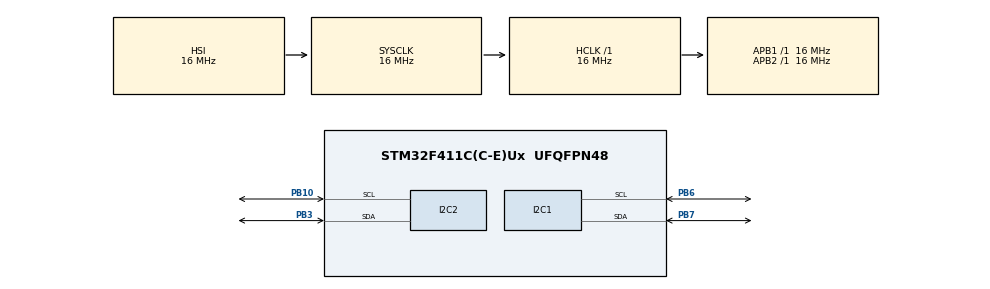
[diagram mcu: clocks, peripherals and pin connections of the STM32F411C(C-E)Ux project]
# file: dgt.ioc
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I2C2.GeneralCallMode=I2C_GENERALCALL_ENABLE
I2C2.OwnAddress=32
Mcu.Family=STM32F4
Mcu.Name=STM32F411C(C-E)Ux
Mcu.Package=UFQFPN48
NVIC.I2C1_EV_IRQn=true\:0\:0\:false\:false\:true\:true\:true\:true
NVIC.I2C2_EV_IRQn=true\:0\:0\:false\:false\:true\:true\:true\:true
NVIC.PriorityGroup=NVIC_PRIORITYGROUP_4
PB10.Mode=I2C
PB10.Signal=I2C2_SCL
PB3.Mode=I2C
PB3.Signal=I2C2_SDA
PB6.Mode=I2C
PB6.Signal=I2C1_SCL
PB7.Mode=I2C
PB7.Signal=I2C1_SDA
ProjectManager.HeapSize=0x200
ProjectManager.StackSize=0x400
ProjectManager.TargetToolchain=Makefile
RCC.AHBFreq_Value=16000000
RCC.APB1Freq_Value=16000000
RCC.APB2Freq_Value=16000000
RCC.CortexFreq_Value=16000000
RCC.HSE_VALUE=25000000
RCC.HSI_VALUE=16000000
RCC.LSE_VALUE=32768
RCC.SYSCLKFreq_VALUE=16000000
RCC.VCOOutputFreq_Value=192000000
board=custom

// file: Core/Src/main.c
/* USER CODE BEGIN Header */
/**
 ******************************************************************************
 * @file           : main.c
 * @brief          : Main program body
 ******************************************************************************
 * @attention
 *
 * Copyright (c) 2026 STMicroelectronics.
 * All rights reserved.
 *
 * This software is licensed under terms that can be found in the LICENSE file
 * in the root directory of this software component.
 * If no LICENSE file comes with this software, it is provided AS-IS.
 *
 ******************************************************************************
 */
/* USER CODE END Header */
#include "main.h"

/* USER CODE BEGIN PD */
/* HAL takes 8-bit (shifted) addresses, both for targets and for OwnAddress1. */
#define DGT_CLOCK_ADDR (0x08 << 1)
#define DGT_OWN_ADDR (0x10 << 1) /* Must match hi2c2.Init.OwnAddress1 */

#define DGT_MSG_ACK 0x01
#define DGT_CMD_DISPLAY 0x06
#define DGT_CMD_END_DISPLAY 0x07
#define DGT_CMD_CHANGE_STATE 0x0B
#define DGT_CMD_SET_CC 0x0F
#define DGT_ACK_POSITIVE 0x08

#define DGT_TX_TIMEOUT_MS 10
#define DGT_ACK_TIMEOUT_MS 50
#define DGT_CONFIGURE_ATTEMPTS 6
#define DGT_DISPLAY_ATTEMPTS 3
/* As DGT3000-BLE-Gateway: the clock sends its queued messages right after the
   previous one, so give it time before sending, and more after a failure. */
#define DGT_COMMAND_DELAY_MS 25
#define DGT_RETRY_DELAY_MS 100
#define DGT_DISPLAY_CHARS 11

/* Same meaning as the dgtpi return codes */
#define DGT_OK 0
#define DGT_ERR_NEGATIVE_ACK -1 /* Clock answered, but refused the command */
#define DGT_ERR_I2C -2          /* Bus stuck or timed out */
#define DGT_ERR_RETRY -3        /* Collision, or no ack received */
#define DGT_ERR_CLOCK_OFF -7    /* Address not acked, clock probably off */
/* USER CODE END PD */

I2C_HandleTypeDef hi2c1;
I2C_HandleTypeDef hi2c2;

/* USER CODE BEGIN PV */
/* A frame's length is a single byte, so this can never overflow. */
static uint8_t dgt_rx_frame[256];
static volatile uint8_t dgt_ack_cmd;
static volatile uint8_t dgt_ack_status;

/* Debug log, read it in gdb: p dgt_dbg_steps / p/x dgt_dbg_rx */
#define DGT_DBG_STEPS 16
#define DGT_DBG_RX 16
typedef struct
{
  uint8_t step; /* the command byte that was sent */
  int8_t result;
  uint8_t status;
} dgt_dbg_step_t;
typedef struct
{
  uint8_t len;
  uint8_t crc_seed; /* 0x20 = own address, 0x00 = broadcast, 0xFF = bad crc */
  uint8_t data[22];
} dgt_dbg_rx_t;
volatile dgt_dbg_step_t dgt_dbg_steps[DGT_DBG_STEPS];
volatile uint8_t dgt_dbg_step_count;
volatile dgt_dbg_rx_t dgt_dbg_rx[DGT_DBG_RX];
volatile uint8_t dgt_dbg_rx_count;

const uint8_t crc_table[256] = {
    0x00, 0x07, 0x0E, 0x09, 0x1C, 0x1B, 0x12, 0x15,
    0x38, 0x3F, 0x36, 0x31, 0x24, 0x23, 0x2A, 0x2D,
    0x70, 0x77, 0x7E, 0x79, 0x6C, 0x6B, 0x62, 0x65,
    0x48, 0x4F, 0x46, 0x41, 0x54, 0x53, 0x5A, 0x5D,
    0xE0, 0xE7, 0xEE, 0xE9, 0xFC, 0xFB, 0xF2, 0xF5,
    0xD8, 0xDF, 0xD6, 0xD1, 0xC4, 0xC3, 0xCA, 0xCD,
    0x90, 0x97, 0x9E, 0x99, 0x8C, 0x8B, 0x82, 0x85,
    0xA8, 0xAF, 0xA6, 0xA1, 0xB4, 0xB3, 0xBA, 0xBD,
    0xC7, 0xC0, 0xC9, 0xCE, 0xDB, 0xDC, 0xD5, 0xD2,
    0xFF, 0xF8, 0xF1, 0xF6, 0xE3, 0xE4, 0xED, 0xEA,
    0xB7, 0xB0, 0xB9, 0xBE, 0xAB, 0xAC, 0xA5, 0xA2,
    0x8F, 0x88, 0x81, 0x86, 0x93, 0x94, 0x9D, 0x9A,
    0x27, 0x20, 0x29, 0x2E, 0x3B, 0x3C, 0x35, 0x32,
    0x1F, 0x18, 0x11, 0x16, 0x03, 0x04, 0x0D, 0x0A,
    0x57, 0x50, 0x59, 0x5E, 0x4B, 0x4C, 0x45, 0x42,
    0x6F, 0x68, 0x61, 0x66, 0x73, 0x74, 0x7D, 0x7A,
    0x89, 0x8E, 0x87, 0x80, 0x95, 0x92, 0x9B, 0x9C,
    0xB1, 0xB6, 0xBF, 0xB8, 0xAD, 0xAA, 0xA3, 0xA4,
    0xF9, 0xFE, 0xF7, 0xF0, 0xE5, 0xE2, 0xEB, 0xEC,
    0xC1, 0xC6, 0xCF, 0xC8, 0xDD, 0xDA, 0xD3, 0xD4,
    0x69, 0x6E, 0x67, 0x60, 0x75, 0x72, 0x7B, 0x7C,
    0x51, 0x56, 0x5F, 0x58, 0x4D, 0x4A, 0x43, 0x44,
    0x19, 0x1E, 0x17, 0x10, 0x05, 0x02, 0x0B, 0x0C,
    0x21, 0x26, 0x2F, 0x28, 0x3D, 0x3A, 0x33, 0x34,
    0x4E, 0x49, 0x40, 0x47, 0x52, 0x55, 0x5C, 0x5B,
    0x76, 0x71, 0x78, 0x7F, 0x6A, 0x6D, 0x64, 0x63,
    0x3E, 0x39, 0x30, 0x37, 0x22, 0x25, 0x2C, 0x2B,
    0x06, 0x01, 0x08, 0x0F, 0x1A, 0x1D, 0x14, 0x13,
    0xAE, 0xA9, 0xA0, 0xA7, 0xB2, 0xB5, 0xBC, 0xBB,
    0x96, 0x91, 0x98, 0x9F, 0x8A, 0x8D, 0x84, 0x83,
    0xDE, 0xD9, 0xD0, 0xD7, 0xC2, 0xC5, 0xCC, 0xCB,
    0xE6, 0xE1, 0xE8, 0xEF, 0xFA, 0xFD, 0xF4, 0xF3};
/* USER CODE END PV */

void SystemClock_Config(void);
static void MX_GPIO_Init(void);
static void MX_I2C1_Init(void);
static void MX_I2C2_Init(void);
/* USER CODE BEGIN PFP */
/* The CRC also covers the destination address byte, which is not part of the
   frame buffers: the HAL puts it on the wire. */
static uint8_t DGT_Crc(uint8_t addr_byte, const uint8_t *frame, uint16_t length)
{
  uint8_t crc = crc_table[addr_byte];

  for (uint16_t i = 0; i < length; i++)
    crc = crc_table[crc ^ frame[i]];

  return crc;
}

void Wake_DGT3000(void)
{

  uint8_t ping_frame[] = {32, 5, 13, 70};
  uint8_t timeout = 100;
  uint8_t clock_addr = (uint8_t)40 << 1;
  volatile HAL_StatusTypeDef tx_status = HAL_OK;

  for (int i = 0; i < 9; i++)
  {
    tx_status = HAL_I2C_Master_Transmit(&hi2c1, clock_addr, ping_frame, sizeof(ping_frame), timeout);
    HAL_Delay(1000);
  }
}

/* Send a frame to the clock and wait for the ack of its command, which the
   clock sends to our slave address. */
static int DGT_SendCommand(uint8_t *frame, uint16_t length, uint8_t *ack_status)
{
  uint8_t cmd = frame[2];

  HAL_Delay(DGT_COMMAND_DELAY_MS);

  /* Cleared before sending: the ack can arrive right after the stop condition */
  dgt_ack_cmd = 0;

  if (HAL_I2C_Master_Transmit(&hi2c1, DGT_CLOCK_ADDR, frame, length, DGT_TX_TIMEOUT_MS) != HAL_OK)
  {
    /* HAL only checks ARLO in IT mode, here it shows up as a timeout */
    if (__HAL_I2C_GET_FLAG(&hi2c1, I2C_FLAG_ARLO))
    {
      __HAL_I2C_CLEAR_FLAG(&hi2c1, I2C_FLAG_ARLO);
      return DGT_ERR_RETRY;
    }
    if (HAL_I2C_GetError(&hi2c1) & HAL_I2C_ERROR_AF)
      return DGT_ERR_CLOCK_OFF;
    return DGT_ERR_I2C;
  }

  uint32_t start = HAL_GetTick();
  while (dgt_ack_cmd != cmd)
  {
    if (HAL_GetTick() - start >= DGT_ACK_TIMEOUT_MS)
      return DGT_ERR_RETRY;
  }

  *ack_status = dgt_ack_status;
  return DGT_OK;
}

/* Clear the display, as dgt3000EndDisplay() does. The clock answers either
   right away to our address (status 5: already empty) or with a broadcast
   once the display is cleared (status 0). */
int EndDisplay_DGT3000(void)
{
  uint8_t end_display_frame[] = {0x20, 0x05, DGT_CMD_END_DISPLAY, 0x70};
  uint8_t status = 0;

  int e = DGT_SendCommand(end_display_frame, sizeof(end_display_frame), &status);
  if (e != DGT_OK)
    return e;

  status &= 0x07;
  return (status == 0x05 || status == 0x00) ? DGT_OK : DGT_ERR_NEGATIVE_ACK;
}

/* Show text (up to 11 characters, padded with spaces) as dgt3000SetDisplay()
   does. The ack is a broadcast. */
int SetDisplay_DGT3000(const char *text, uint8_t beep, uint8_t left_dots, uint8_t right_dots)
{
  /* source, length, command, 11 characters, 0xFF, beep, 0x03, left dots,
     right dots, crc */
  uint8_t display_frame[] = {0x20, 0x15, DGT_CMD_DISPLAY,
                             ' ', ' ', ' ', ' ', ' ', ' ', ' ', ' ', ' ', ' ', ' ',
                             0xFF, 0x00, 0x03, 0x00, 0x00, 0x00};
  uint8_t status = 0;

  for (int i = 0; i < DGT_DISPLAY_CHARS && text[i] != '\0'; i++)
    display_frame[3 + i] = (uint8_t)text[i];

  display_frame[15] = beep;
  display_frame[17] = left_dots;
  display_frame[18] = right_dots;
  display_frame[19] = DGT_Crc(DGT_CLOCK_ADDR, display_frame, sizeof(display_frame) - 1);

  int e = DGT_SendCommand(display_frame, sizeof(display_frame), &status);
  if (e != DGT_OK)
    return e;

  /* Refused: a message is already being displayed */
  return ((status & 0xF3) == 0x23) ? DGT_ERR_NEGATIVE_ACK : DGT_OK;
}

/* Clear the display and then show the text, three attempts each, as
   dgt3000Display() does, with a pause before each retry. */
int Display_DGT3000(const char *text, uint8_t beep, uint8_t left_dots, uint8_t right_dots)
{
  int e = DGT_ERR_I2C;

  for (int i = 0; i < DGT_DISPLAY_ATTEMPTS; i++)
  {
    if (i > 0)
      HAL_Delay(DGT_RETRY_DELAY_MS);
    e = EndDisplay_DGT3000();
    if (e == DGT_OK)
      break;
  }
  if (e != DGT_OK)
    return e;

  for (int i = 0; i < DGT_DISPLAY_ATTEMPTS; i++)
  {
    if (i > 0)
      HAL_Delay(DGT_RETRY_DELAY_MS);
    e = SetDisplay_DGT3000(text, beep, left_dots, right_dots);
    if (e == DGT_OK)
      break;
  }
  return e;
}
/* Returns DGT_ERR_NEGATIVE_ACK if the clock is not in central control. */
int SetMode25_DGT3000(void)
{
  uint8_t mode25_frame[] = {0x20, 0x06, DGT_CMD_CHANGE_STATE, 0x39, 0xB9};
  uint8_t status = 0;

  int e = DGT_SendCommand(mode25_frame, sizeof(mode25_frame), &status);
  if (e != DGT_OK)
    return e;

  return (status == DGT_ACK_POSITIVE) ? DGT_OK : DGT_ERR_NEGATIVE_ACK;
}

/* Returns DGT_ERR_NEGATIVE_ACK if the clock refuses, e.g. because it is running. */
int SetCCMode_DGT3000(void)
{
  uint8_t central_control_frame[] = {0x20, 0x05, DGT_CMD_SET_CC, 0x48};
  uint8_t status = 0;

  int e = DGT_SendCommand(central_control_frame, sizeof(central_control_frame), &status);
  if (e != DGT_OK)
    return e;

  return (status & DGT_ACK_POSITIVE) ? DGT_OK : DGT_ERR_NEGATIVE_ACK;
}

/* Get the clock into mode 25, as dgt3000Configure() does: mode 25 is tried
   first, central control is only needed when the clock refuses it. */
int Configure_DGT3000(void)
{
  int e = DGT_ERR_I2C;

  for (int i = 0; i < DGT_CONFIGURE_ATTEMPTS; i++)
  {
    if (i > 0)
      HAL_Delay(DGT_RETRY_DELAY_MS);
    e = SetMode25_DGT3000();
    if (e == DGT_OK)
      return DGT_OK;

    if (e == DGT_ERR_NEGATIVE_ACK)
      SetCCMode_DGT3000();
    else if (e == DGT_ERR_CLOCK_OFF)
      Wake_DGT3000();
  }

  return e;
}
/* USER CODE END PFP */

int main(void)
{

  /* MCU Configuration--------------------------------------------------------*/

  /* Reset of all peripherals, Initializes the Flash interface and the Systick. */
  HAL_Init();

  /* Configure the system clock */
  SystemClock_Config();

  /* Initialize all configured peripherals */
  MX_GPIO_Init();
  MX_I2C1_Init();
  MX_I2C2_Init();
  /* USER CODE BEGIN 2 */
  /* Listen before sending anything, the clock answers as soon as a frame ends */
  if (HAL_I2C_EnableListen_IT(&hi2c2) != HAL_OK)
  {
    Error_Handler();
  }

  Wake_DGT3000();
  /* Like dgtpi, try the display even if configuring reported a failure */
  volatile int configure_status = Configure_DGT3000();
  volatile int display_status = Display_DGT3000("1999", 0, 0, 0);
  HAL_Delay(1000);
  Display_DGT3000(" 2000",0,0,0);
  HAL_Delay(1000);
  Display_DGT3000("  2001",0,0,0);
  HAL_Delay(1000);
  Display_DGT3000("   2002",0,0,0);
  (void)configure_status;
  (void)display_status;
  /* USER CODE END 2 */

  /* Infinite loop */
  /* USER CODE BEGIN WHILE */
  while (1)
  {
    HAL_Delay(1000);
    /* USER CODE END WHILE */

  }

}

void SystemClock_Config(void)
{
  RCC_OscInitTypeDef RCC_OscInitStruct = {0};
  RCC_ClkInitTypeDef RCC_ClkInitStruct = {0};

  /** Configure the main internal regulator output voltage
   */
  __HAL_RCC_PWR_CLK_ENABLE();
  __HAL_PWR_VOLTAGESCALING_CONFIG(PWR_REGULATOR_VOLTAGE_SCALE1);

  /** Initializes the RCC Oscillators according to the specified parameters
   * in the RCC_OscInitTypeDef structure.
   */
  RCC_OscInitStruct.OscillatorType = RCC_OSCILLATORTYPE_HSI;
  RCC_OscInitStruct.HSIState = RCC_HSI_ON;
  RCC_OscInitStruct.HSICalibrationValue = RCC_HSICALIBRATION_DEFAULT;
  RCC_OscInitStruct.PLL.PLLState = RCC_PLL_NONE;
  if (HAL_RCC_OscConfig(&RCC_OscInitStruct) != HAL_OK)
  {
    Error_Handler();
  }

  /** Initializes the CPU, AHB and APB buses clocks
   */
  RCC_ClkInitStruct.ClockType = RCC_CLOCKTYPE_HCLK | RCC_CLOCKTYPE_SYSCLK | RCC_CLOCKTYPE_PCLK1 | RCC_CLOCKTYPE_PCLK2;
  RCC_ClkInitStruct.SYSCLKSource = RCC_SYSCLKSOURCE_HSI;
  RCC_ClkInitStruct.AHBCLKDivider = RCC_SYSCLK_DIV1;
  RCC_ClkInitStruct.APB1CLKDivider = RCC_HCLK_DIV1;
  RCC_ClkInitStruct.APB2CLKDivider = RCC_HCLK_DIV1;

  if (HAL_RCC_ClockConfig(&RCC_ClkInitStruct, FLASH_LATENCY_0) != HAL_OK)
  {
    Error_Handler();
  }
}

static void MX_I2C1_Init(void)
{

  hi2c1.Instance = I2C1;
  hi2c1.Init.ClockSpeed = 100000;
  hi2c1.Init.DutyCycle = I2C_DUTYCYCLE_2;
  hi2c1.Init.OwnAddress1 = 0;
  hi2c1.Init.AddressingMode = I2C_ADDRESSINGMODE_7BIT;
  hi2c1.Init.DualAddressMode = I2C_DUALADDRESS_DISABLE;
  hi2c1.Init.OwnAddress2 = 0;
  hi2c1.Init.GeneralCallMode = I2C_GENERALCALL_DISABLE;
  hi2c1.Init.NoStretchMode = I2C_NOSTRETCH_DISABLE;
  if (HAL_I2C_Init(&hi2c1) != HAL_OK)
  {
    Error_Handler();
  }
}

static void MX_I2C2_Init(void)
{

  hi2c2.Instance = I2C2;
  hi2c2.Init.ClockSpeed = 100000;
  hi2c2.Init.DutyCycle = I2C_DUTYCYCLE_2;
  hi2c2.Init.OwnAddress1 = 32;
  hi2c2.Init.AddressingMode = I2C_ADDRESSINGMODE_7BIT;
  hi2c2.Init.DualAddressMode = I2C_DUALADDRESS_DISABLE;
  hi2c2.Init.OwnAddress2 = 0;
  hi2c2.Init.GeneralCallMode = I2C_GENERALCALL_ENABLE;
  hi2c2.Init.NoStretchMode = I2C_NOSTRETCH_DISABLE;
  if (HAL_I2C_Init(&hi2c2) != HAL_OK)
  {
    Error_Handler();
  }
}

static void MX_GPIO_Init(void)
{

  /* GPIO Ports Clock Enable */
  __HAL_RCC_GPIOB_CLK_ENABLE();

}

/* USER CODE BEGIN 4 */
void HAL_I2C_AddrCallback(I2C_HandleTypeDef *hi2c, uint8_t TransferDirection, uint16_t AddrMatchCode)
{
  UNUSED(AddrMatchCode);

  if (hi2c == &hi2c2 && TransferDirection == I2C_DIRECTION_TRANSMIT)
  {
    HAL_I2C_Slave_Seq_Receive_IT(hi2c, dgt_rx_frame, sizeof(dgt_rx_frame), I2C_LAST_FRAME);
  }
}

/* The frame length is not known up front, so the receive buffer is never filled
   and the HAL ends each frame at the stop condition, reporting it as an
   incomplete transfer. That also ends the listen mode, so restart it here. */
void HAL_I2C_ListenCpltCallback(I2C_HandleTypeDef *hi2c)
{
  if (hi2c != &hi2c2)
    return;

  /* Ack frame: source, length (counts the address byte), type, command, status,
     ..., crc. The CRC is seeded with the address the frame was sent to: ours,
     or 0x00 for broadcasts (general call), which the display acks use. */
  uint16_t received = hi2c->XferSize - hi2c->XferCount;

  uint8_t n = dgt_dbg_rx_count;
  if (n < DGT_DBG_RX && received > 0)
  {
    uint8_t seed = 0xFF;
    if (DGT_Crc(DGT_OWN_ADDR, dgt_rx_frame, received - 1) == dgt_rx_frame[received - 1])
      seed = DGT_OWN_ADDR;
    else if (DGT_Crc(0x00, dgt_rx_frame, received - 1) == dgt_rx_frame[received - 1])
      seed = 0x00;
    dgt_dbg_rx[n].len = (uint8_t)received;
    dgt_dbg_rx[n].crc_seed = seed;
    for (uint16_t i = 0; i < received && i < sizeof(dgt_dbg_rx[n].data); i++)
      dgt_dbg_rx[n].data[i] = dgt_rx_frame[i];
    dgt_dbg_rx_count = n + 1;
  }

  if (received >= 6 && dgt_rx_frame[1] == received + 1 && dgt_rx_frame[2] == DGT_MSG_ACK &&
      (DGT_Crc(DGT_OWN_ADDR, dgt_rx_frame, received - 1) == dgt_rx_frame[received - 1] ||
       DGT_Crc(0x00, dgt_rx_frame, received - 1) == dgt_rx_frame[received - 1]))
  {
    dgt_ack_status = dgt_rx_frame[4];
    dgt_ack_cmd = dgt_rx_frame[3];
  }

  HAL_I2C_EnableListen_IT(hi2c);
}
/* USER CODE END 4 */

void Error_Handler(void)
{
  __disable_irq();
  while (1)
  {
  }
}
